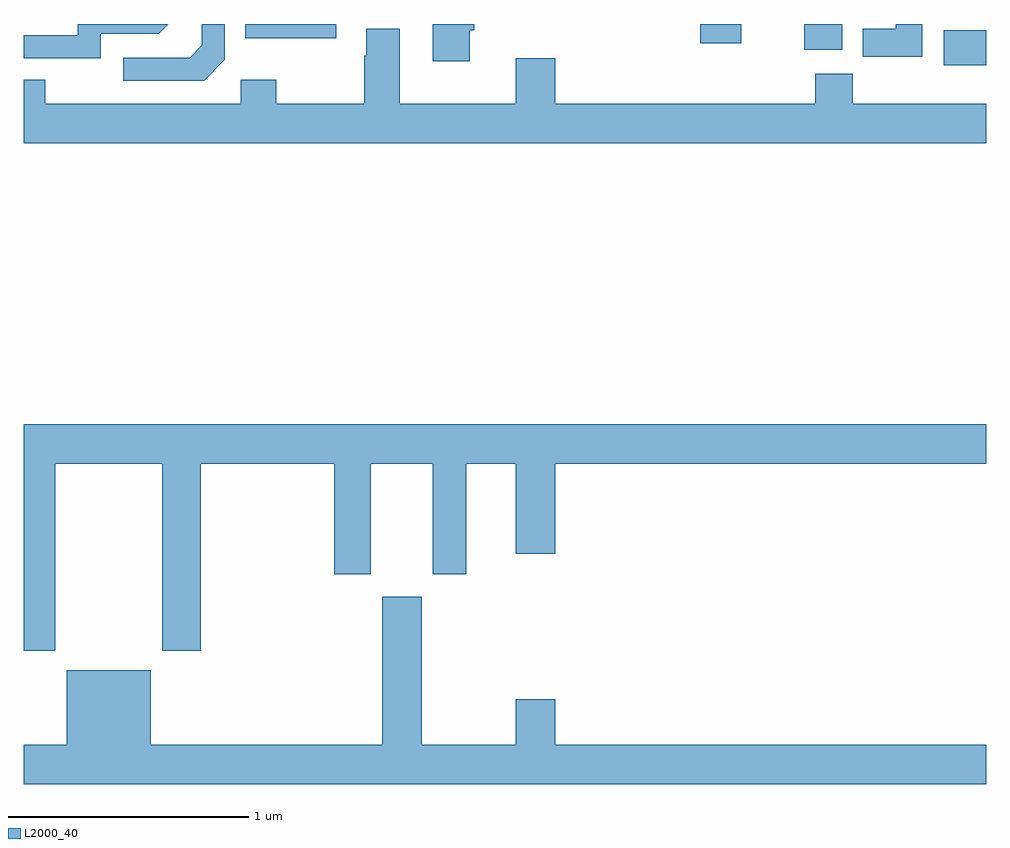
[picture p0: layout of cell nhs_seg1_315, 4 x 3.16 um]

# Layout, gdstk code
import gdstk
lib = gdstk.Library(unit=1e-6, precision=1e-09)
def R(c, l, rs):  # rectangles x0, y0, x1, y1
    for r in rs: c.add(gdstk.rectangle(r[:2], r[2:], *l))
def P(c, l, *ps):  # polygons
    for p in ps: c.add(gdstk.Polygon(p, *l))
L2000_40 = (2000, 40)

nhs_seg1_315 = lib.new_cell('nhs_seg1_315')
R(nhs_seg1_315, L2000_40, [(130.823,580.028,131,580.174), (130.244,580.092,130.402,580.199), (129.812,580.119,129.982,580.199), (127.921,580.139,128.299,580.199)])
P(nhs_seg1_315, L2000_40, [(127.836,580.05),(127.836,580.199),(127.74,580.199),(127.74,580.11),(127.689,580.059),(127.413,580.059),(127.413,579.963),(127.749,579.963)],
  [(128.854,580.173),(128.872,580.173),(128.872,580.199),(128.699,580.199),(128.699,580.044),(128.854,580.044)],
  [(130.735,580.199),(130.625,580.199),(130.625,580.18),(130.487,580.18),(130.487,580.062),(130.735,580.062)],
  [(127.32,580.158),(127.56,580.158),(127.601,580.199),(127.224,580.199),(127.224,580.152),(127,580.152),(127,580.056),(127.32,580.056)],
  [(131,579.868),(130.445,579.868),(130.445,579.992),(130.289,579.992),(130.289,579.868),(129.208,579.868),(129.208,580.057),(129.044,580.057),(129.044,579.868),(128.563,579.868),(128.563,580.18),(128.423,580.18),(128.423,580.067),(128.416,580.067),(128.416,579.868),(128.049,579.868),(128.049,579.967),(127.902,579.967),(127.902,579.868),(127.089,579.868),(127.089,579.967),(127,579.967),(127,579.704),(131,579.704)],
  [(127.131,578.372),(127.576,578.372),(127.576,577.593),(127.736,577.593),(127.736,578.372),(128.291,578.372),(128.291,577.911),(128.443,577.911),(128.443,578.372),(128.699,578.372),(128.699,577.911),(128.839,577.911),(128.839,578.372),(129.044,578.372),(129.044,577.998),(129.208,577.998),(129.208,578.372),(131,578.372),(131,578.536),(127,578.536),(127,577.593),(127.131,577.593)],
  [(131,577.204),(129.208,577.204),(129.208,577.393),(129.044,577.393),(129.044,577.204),(128.653,577.204),(128.653,577.819),(128.489,577.819),(128.489,577.204),(127.528,577.204),(127.528,577.513),(127.178,577.513),(127.178,577.204),(127,577.204),(127,577.04),(131,577.04)])

lib.write_gds('nhs_seg1_315.gds')
